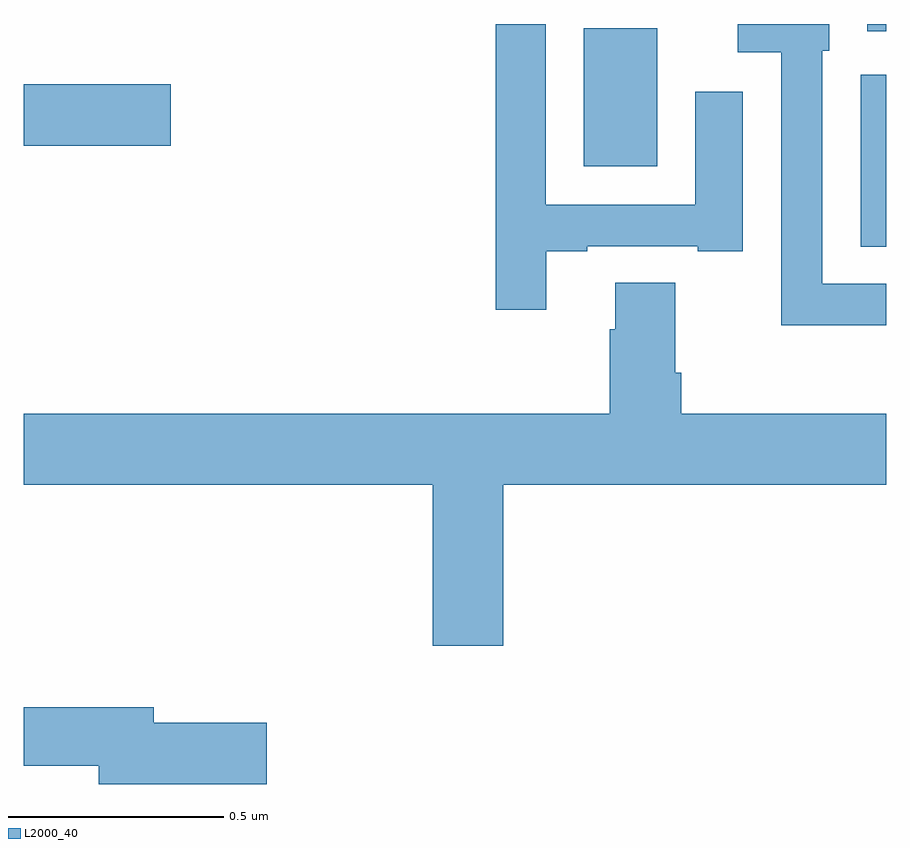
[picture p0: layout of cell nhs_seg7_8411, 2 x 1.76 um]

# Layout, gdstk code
import gdstk
lib = gdstk.Library(unit=1e-6, precision=1e-09)
def R(c, l, rs):  # rectangles x0, y0, x1, y1
    for r in rs: c.add(gdstk.rectangle(r[:2], r[2:], *l))
def P(c, l, *ps):  # polygons
    for p in ps: c.add(gdstk.Polygon(p, *l))
L2000_40 = (2000, 40)

nhs_seg7_8411 = lib.new_cell('nhs_seg7_8411')
R(nhs_seg7_8411, L2000_40, [(225.941,1018.483,226,1018.882), (225.299,1018.67,225.469,1018.99), (224,1018.718,224.341,1018.86), (225.956,1018.983,226,1019)])
P(nhs_seg7_8411, L2000_40, [(226,1018.398),(225.852,1018.398),(225.852,1018.938),(225.868,1018.938),(225.868,1019),(225.656,1019),(225.656,1018.934),(225.756,1018.934),(225.756,1018.301),(226,1018.301)],
  [(225.211,1018.473),(225.307,1018.473),(225.307,1018.485),(225.563,1018.485),(225.563,1018.473),(225.667,1018.473),(225.667,1018.843),(225.557,1018.843),(225.557,1018.581),(225.21,1018.581),(225.21,1019),(225.094,1019),(225.094,1018.338),(225.211,1018.338)],
  [(225.112,1017.932),(226,1017.932),(226,1018.096),(225.524,1018.096),(225.524,1018.192),(225.511,1018.192),(225.511,1018.4),(225.371,1018.4),(225.371,1018.292),(225.359,1018.292),(225.359,1018.096),(224,1018.096),(224,1017.932),(224.948,1017.932),(224.948,1017.558),(225.112,1017.558)],
  [(224.563,1017.38),(224.302,1017.38),(224.302,1017.416),(224,1017.416),(224,1017.28),(224.174,1017.28),(224.174,1017.238),(224.563,1017.238)])

lib.write_gds('nhs_seg7_8411.gds')
